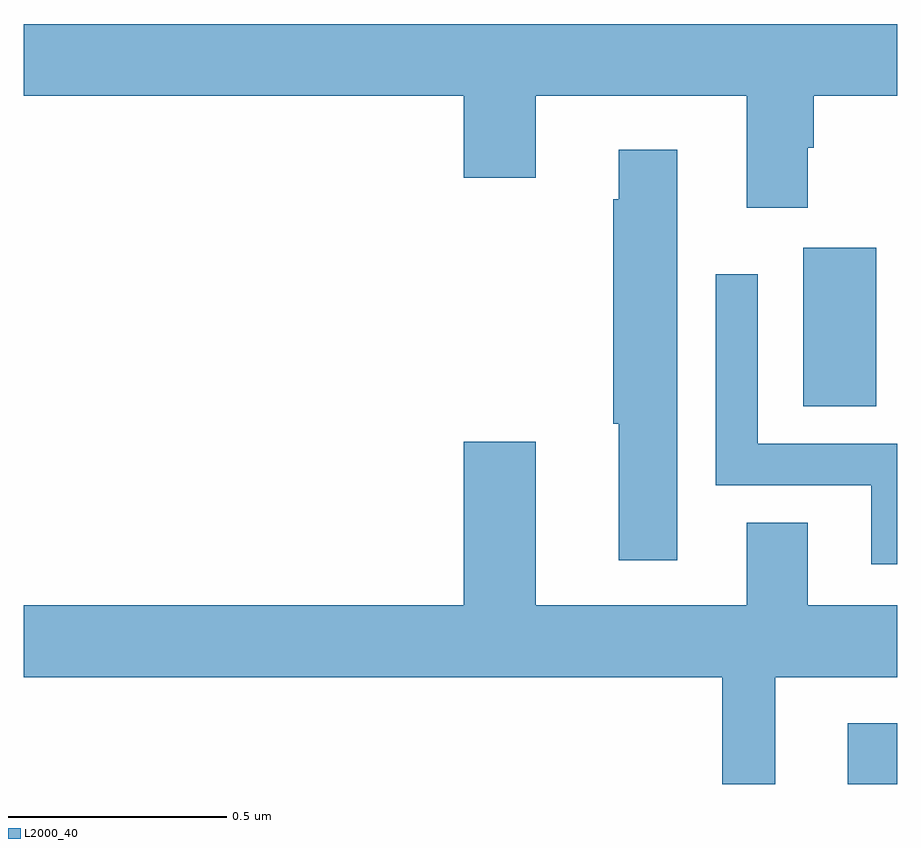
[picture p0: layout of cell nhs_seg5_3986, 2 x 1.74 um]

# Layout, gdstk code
import gdstk
lib = gdstk.Library(unit=1e-6, precision=1e-09)
def R(c, l, rs):  # rectangles x0, y0, x1, y1
    for r in rs: c.add(gdstk.rectangle(r[:2], r[2:], *l))
def P(c, l, *ps):  # polygons
    for p in ps: c.add(gdstk.Polygon(p, *l))
L2000_40 = (2000, 40)

nhs_seg5_3986 = lib.new_cell('nhs_seg5_3986')
R(nhs_seg5_3986, L2000_40, [(165.887,905.799,166,905.938), (165.785,906.664,165.952,907.027)])
P(nhs_seg5_3986, L2000_40, [(165.796,907.256),(165.809,907.256),(165.809,907.376),(166,907.376),(166,907.54),(164,907.54),(164,907.376),(165.008,907.376),(165.008,907.188),(165.172,907.188),(165.172,907.376),(165.656,907.376),(165.656,907.119),(165.796,907.119)],
  [(165.496,907.252),(165.362,907.252),(165.362,907.139),(165.35,907.139),(165.35,906.624),(165.362,906.624),(165.362,906.312),(165.496,906.312)],
  [(166,906.579),(165.681,906.579),(165.681,906.967),(165.585,906.967),(165.585,906.483),(165.941,906.483),(165.941,906.302),(166,906.302)],
  [(165.721,906.044),(166,906.044),(166,906.208),(165.796,906.208),(165.796,906.398),(165.656,906.398),(165.656,906.208),(165.172,906.208),(165.172,906.583),(165.008,906.583),(165.008,906.208),(164,906.208),(164,906.044),(165.6,906.044),(165.6,905.799),(165.721,905.799)])

lib.write_gds('nhs_seg5_3986.gds')
